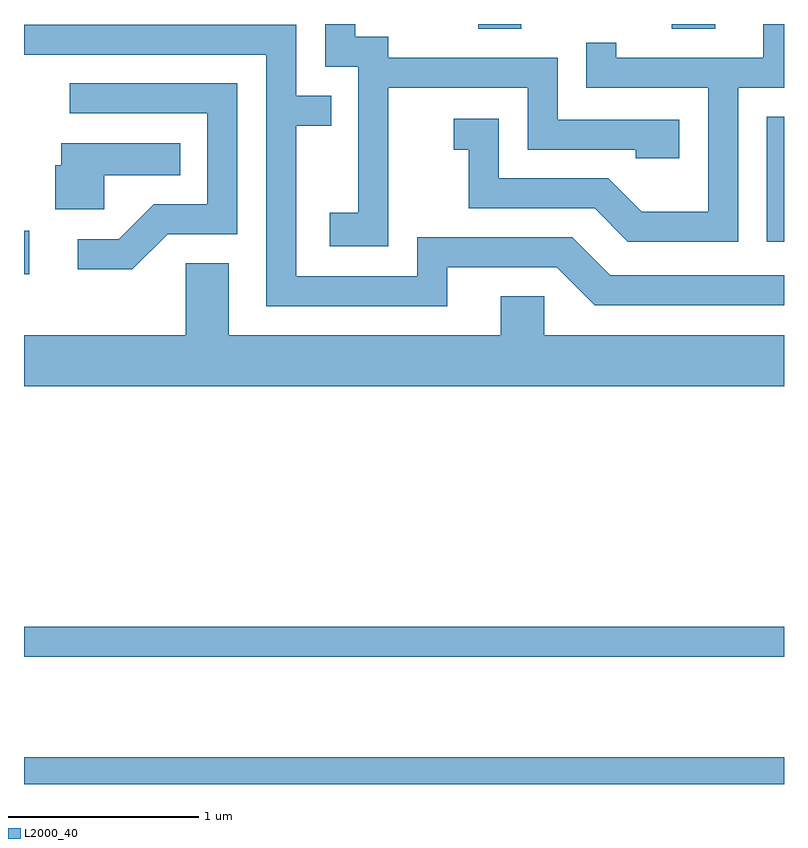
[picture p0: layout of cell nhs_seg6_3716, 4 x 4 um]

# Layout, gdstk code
import gdstk
lib = gdstk.Library(unit=1e-6, precision=1e-09)
def R(c, l, rs):  # rectangles x0, y0, x1, y1
    for r in rs: c.add(gdstk.rectangle(r[:2], r[2:], *l))
def P(c, l, *ps):  # polygons
    for p in ps: c.add(gdstk.Polygon(p, *l))
L2000_40 = (2000, 40)

nhs_seg6_3716 = lib.new_cell('nhs_seg6_3716')
R(nhs_seg6_3716, L2000_40, [(297.611,1550.162,301.611,1550.304), (297.611,1550.831,301.611,1550.989), (297.611,1552.846,297.639,1553.074), (301.521,1553.016,301.611,1553.674), (300.001,1554.136,300.229,1554.162), (301.021,1554.136,301.249,1554.162)])
P(nhs_seg6_3716, L2000_40, [(301.369,1553.826),(301.611,1553.826),(301.611,1554.162),(301.501,1554.162),(301.501,1553.984),(300.729,1553.984),(300.729,1554.063),(300.571,1554.063),(300.571,1553.826),(301.211,1553.826),(301.211,1553.174),(300.862,1553.174),(300.687,1553.349),(300.109,1553.349),(300.109,1553.664),(299.873,1553.664),(299.873,1553.501),(299.951,1553.501),(299.951,1553.191),(300.614,1553.191),(300.789,1553.016),(301.369,1553.016)],
  [(299.529,1553.826),(300.261,1553.826),(300.261,1553.501),(300.831,1553.501),(300.831,1553.456),(301.059,1553.456),(301.059,1553.659),(300.419,1553.659),(300.419,1553.984),(299.529,1553.984),(299.529,1554.094),(299.354,1554.094),(299.354,1554.162),(299.196,1554.162),(299.196,1553.936),(299.371,1553.936),(299.371,1553.169),(299.221,1553.169),(299.221,1552.991),(299.529,1552.991)],
  [(299.839,1552.881),(300.414,1552.881),(300.614,1552.681),(301.611,1552.681),(301.611,1552.839),(300.697,1552.839),(300.497,1553.039),(299.681,1553.039),(299.681,1552.834),(299.044,1552.834),(299.044,1553.626),(299.228,1553.626),(299.228,1553.784),(299.044,1553.784),(299.044,1554.159),(297.611,1554.159),(297.611,1554.001),(298.886,1554.001),(298.886,1552.676),(299.839,1552.676)],
  [(298.367,1553.056),(298.734,1553.056),(298.734,1553.849),(297.853,1553.849),(297.853,1553.691),(298.576,1553.691),(298.576,1553.214),(298.294,1553.214),(298.109,1553.029),(297.893,1553.029),(297.893,1552.871),(298.182,1552.871)],
  [(298.034,1553.366),(298.433,1553.366),(298.433,1553.534),(297.806,1553.534),(297.806,1553.419),(297.776,1553.419),(297.776,1553.186),(298.034,1553.186)],
  [(301.611,1552.524),(300.349,1552.524),(300.349,1552.729),(300.121,1552.729),(300.121,1552.524),(298.689,1552.524),(298.689,1552.904),(298.461,1552.904),(298.461,1552.524),(297.611,1552.524),(297.611,1552.256),(301.611,1552.256)])

lib.write_gds('nhs_seg6_3716.gds')
